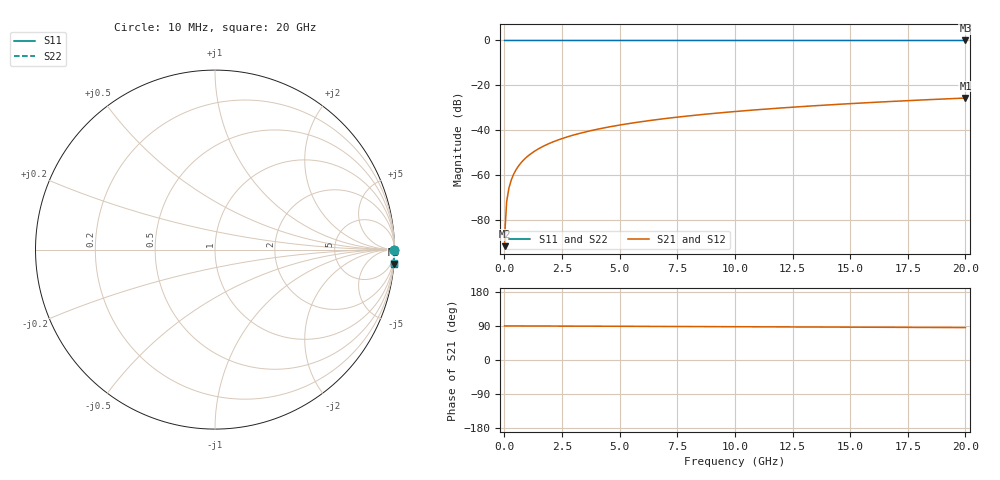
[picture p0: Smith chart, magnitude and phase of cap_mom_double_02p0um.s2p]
#  GHZ S DB R 50
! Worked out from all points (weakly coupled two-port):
!   202 points, 10 MHz to 20 GHz, reference 50 ohm
!   highest |S21| = -25.67 dB at 20 GHz (marker M1); lowest = -91.7 dB at 10 MHz (marker M2)
!   lowest |S11| = 0.0 dB at 20 GHz (marker M3)
!   |S11| at or under -10 dB: nowhere
!   |S22| runs from 0.0 to 0.0 dB; largest |S21 - S12| = 1.9e-14
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0.01  -0.00 -0.0  -91.71 90.0  -91.71 90.0  -0.00 -0.0
0.02  -0.00 -0.0  -85.69 90.0  -85.69 90.0  -0.00 -0.0
0.1  -0.00 -0.0  -71.71 90.0  -71.71 90.0  -0.00 -0.0
0.2  -0.00 -0.0  -65.69 90.0  -65.69 90.0  -0.00 -0.0
0.3  -0.00 -0.1  -62.17 89.9  -62.17 89.9  -0.00 -0.1
0.4  -0.00 -0.1  -59.67 89.9  -59.67 89.9  -0.00 -0.1
0.5  -0.00 -0.1  -57.73 89.9  -57.73 89.9  -0.00 -0.1
0.6  -0.00 -0.1  -56.15 89.9  -56.15 89.9  -0.00 -0.1
0.8  -0.00 -0.2  -53.65 89.9  -53.65 89.9  -0.00 -0.2
1  -0.00 -0.2  -51.71 89.8  -51.71 89.8  -0.00 -0.2
1.2  -0.00 -0.3  -50.13 89.8  -50.13 89.8  -0.00 -0.3
1.5  -0.00 -0.3  -48.19 89.7  -48.19 89.7  -0.00 -0.3
1.8  -0.00 -0.4  -46.60 89.7  -46.60 89.7  -0.00 -0.4
2.5  -0.00 -0.6  -43.75 89.5  -43.75 89.5  -0.00 -0.5
3.4  -0.00 -0.8  -41.07 89.3  -41.07 89.3  -0.00 -0.7
4.9  -0.00 -1.1  -37.89 89.0  -37.89 89.0  -0.00 -1.0
6.7  -0.00 -1.6  -35.17 88.6  -35.17 88.6  -0.00 -1.4
8.3  -0.00 -1.9  -33.31 88.2  -33.31 88.2  -0.00 -1.8
10.1  -0.00 -2.3  -31.60 87.8  -31.60 87.8  -0.00 -2.2
13.4  -0.01 -3.1  -29.15 87.0  -29.15 87.0  -0.01 -2.9
16.7  -0.01 -3.9  -27.24 86.3  -27.24 86.3  -0.01 -3.6
20  -0.01 -4.6  -25.67 85.5  -25.67 85.5  -0.01 -4.3
